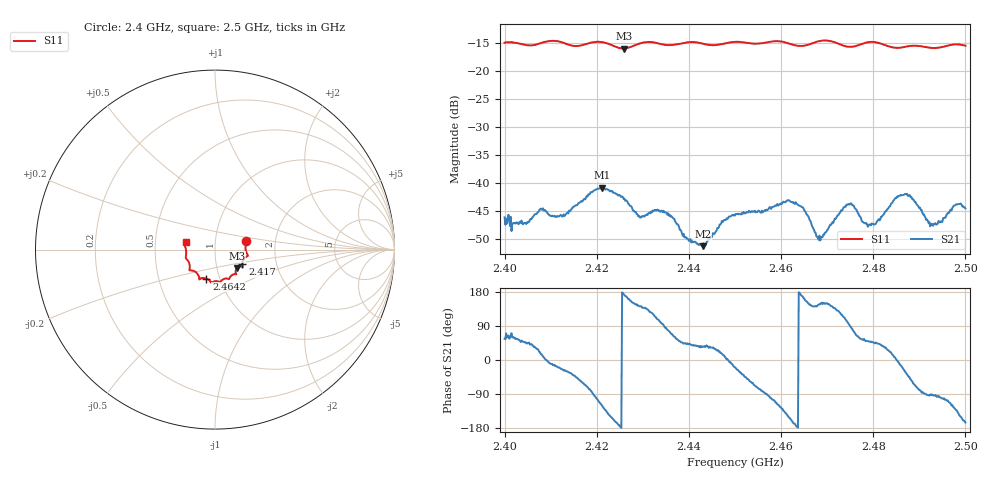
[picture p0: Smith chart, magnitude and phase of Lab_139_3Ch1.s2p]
# Hz S RI R 50
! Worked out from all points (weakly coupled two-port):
!   601 points, 2.4 GHz to 2.5 GHz, reference 50 ohm
!   highest |S21| = -40.85 dB at 2.4212 GHz (marker M1); lowest = -51.3 dB at 2.443 GHz (marker M2)
!   lowest |S11| = -15.9 dB at 2.4258 GHz (marker M3), VSWR 1.38, Z = 62.2 - j13.3 ohm
!   |S11| at or under -10 dB: start of sweep to end of sweep
!   S12 and S22 are empty: the file has one direction only
!   S11 on the Smith chart (normalised r, x): 2.4 GHz: 1.41, +0.14; 2.417 GHz: 1.34, -0.22; 2.4642 GHz: 0.86, -0.29; 2.5 GHz: 0.72, +0.06
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2.4e9  0.1731 0.0492  0.00275 0.00408  0 0  0 0
2.4045e9  0.1704 0.0189  0.00296 0.00321  0 0  0 0
2.408e9  0.1777 -0.0212  0.00556 0.0015  0 0  0 0
2.412833e9  0.1745 -0.0395  0.00462 -0.00243  0 0  0 0
2.416667e9  0.1528 -0.0746  0.00374 -0.00576  0 0  0 0
2.417e9  0.1524 -0.0787  0.00337 -0.00605  0 0  0 0
2.421167e9  0.1542 -0.0965  -0.0046 -0.00781  0 0  0 0
2.425833e9  0.121 -0.1039  -0.00714 0.000777  0 0  0 0
2.429333e9  0.1163 -0.1333  -0.00385 0.00307  0 0  0 0
2.433333e9  0.1128 -0.1366  -0.00162 0.00542  0 0  0 0
2.443e9  0.0696 -0.1617  0.00222 0.00156  0 0  0 0
2.45e9  0.0293 -0.1806  0.00481 -0.00169  0 0  0 0
2.464167e9  -0.0482 -0.1611  -0.00617 0.000597  0 0  0 0
2.466667e9  -0.0763 -0.1595  -0.00333 0.00251  0 0  0 0
2.4685e9  -0.0865 -0.1652  -0.00255 0.00165  0 0  0 0
2.474667e9  -0.1031 -0.1291  -0.000588 0.00645  0 0  0 0
2.479e9  -0.1407 -0.1157  0.00275 0.00318  0 0  0 0
2.483333e9  -0.1407 -0.0897  0.00544 0.00252  0 0  0 0
2.4875e9  -0.1581 -0.0536  0.00583 -0.00497  0 0  0 0
2.492833e9  -0.1602 -0.0158  -9.5e-05 -0.00427  0 0  0 0
2.497833e9  -0.171 0.0305  -0.00407 -0.00485  0 0  0 0
2.5e9  -0.1639 0.0417  -0.0057 -0.00153  0 0  0 0
